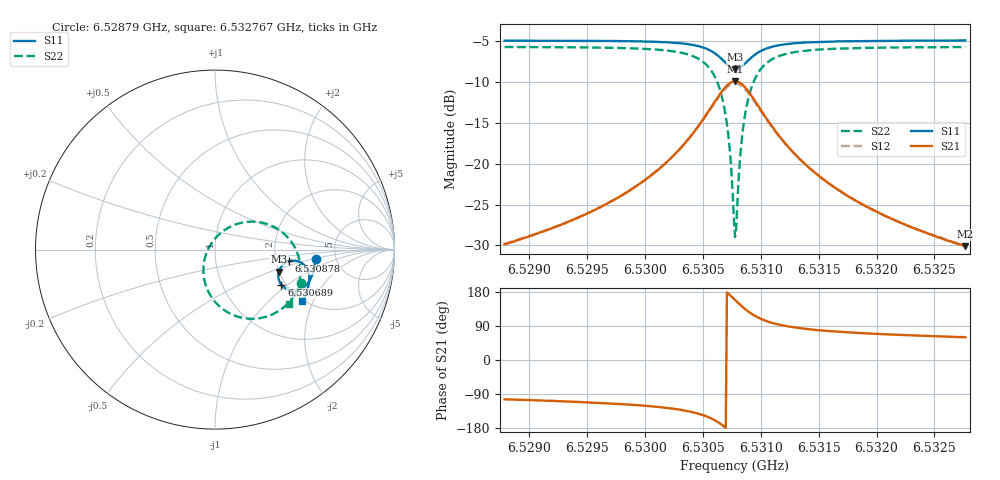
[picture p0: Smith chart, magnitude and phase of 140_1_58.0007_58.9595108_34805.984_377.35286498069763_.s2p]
#  HZ  S  RI  R  50.00
! Rohde & Schwarz Vector Network Analyzer
! Rohde-Schwarz,ZNB20-2Port,1311601062101988,3.16
! Created: UTC 3/21/2024, 12:56:29 AM
! freq[Hz]  re:S11  im:S11  re:S21  im:S21  re:S12  im:S12  re:S22  im:S22
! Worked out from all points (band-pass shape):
!   401 points, 6.52879 GHz to 6.532767 GHz, reference 50 ohm
!   highest |S21| = -9.94 dB at 6.530778 GHz (marker M1); lowest = -30.1 dB at 6.532767 GHz (marker M2)
!   |S21| within 3 dB of the highest: 6.53058 GHz to 6.530978 GHz (397.4 kHz wide, 0.00609 % of centre)
!   lowest |S11| = -8.5 dB at 6.530778 GHz (marker M3), VSWR 2.21, Z = 99.8 - j28.5 ohm
!   |S11| at or under -10 dB: nowhere
!   |S22| runs from -29.0 to -5.8 dB; largest |S21 - S12| = 0.013
!   S11 on the Smith chart (normalised r, x): 6.52879 GHz: 3.49, -0.54; 6.530689 GHz: 1.90, -0.90; 6.530878 GHz: 2.36, -0.37; 6.532767 GHz: 1.97, -1.66
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6.5287896e9  0.5606 -0.0526  -0.00764 -0.0314  -0.00824 -0.0312  0.4815 -0.1833
6.5294558e9  0.5514 -0.1088  -0.0173 -0.0446  -0.0184 -0.0444  0.4493 -0.2461
6.5298038e9  0.5414 -0.1419  -0.0287 -0.0573  -0.0301 -0.0566  0.4184 -0.2873
6.530122e9  0.5242 -0.1773  -0.0519 -0.0766  -0.0543 -0.0754  0.3647 -0.3354
6.5303506e9  0.4972 -0.2079  -0.0929 -0.097  -0.096 -0.0937  0.2812 -0.3752
6.5305197e9  0.4525 -0.2279  -0.1635 -0.1043  -0.1659 -0.0973  0.1508 -0.3798
6.5306191e9  0.4061 -0.223  -0.2356 -0.0774  -0.2347 -0.0671  0.03 -0.3205
6.5306887e9  0.3695 -0.195  -0.2892 -0.017  -0.2829 -0.00635  -0.0483 -0.2085
6.5307285e9  0.3554 -0.1663  -0.306 0.0377  -0.2964 0.0463  -0.0649 -0.1143
6.5307682e9  0.3537 -0.1314  -0.3014 0.1003  -0.2898 0.1053  -0.0449 -0.0124
6.5307782e9  0.3556 -0.1226  -0.2965 0.1157  -0.2845 0.1197  -0.0336 0.0117
6.5307881e9  0.3585 -0.1141  -0.2898 0.1307  -0.278 0.1334  -0.02 0.0348
6.5307981e9  0.3622 -0.106  -0.2818 0.1448  -0.2702 0.1466  -0.00416 0.0562
6.530818e9  0.3721 -0.0914  -0.2623 0.1699  -0.2513 0.1697  0.0327 0.0934
6.5308378e9  0.3842 -0.0794  -0.2392 0.1899  -0.2291 0.1883  0.0745 0.1218
6.5308776e9  0.4119 -0.0648  -0.1886 0.2143  -0.1813 0.2109  0.1624 0.1523
6.5309472e9  0.4566 -0.0636  -0.1103 0.2168  -0.1066 0.2135  0.2938 0.1409
6.5310466e9  0.4961 -0.0853  -0.043 0.1849  -0.0412 0.1832  0.4025 0.0708
6.5311958e9  0.5194 -0.1217  -0.00215 0.137  -0.000837 0.1363  0.4621 -0.0275
6.5314444e9  0.526 -0.1654  0.0155 0.0896  0.0166 0.0893  0.477 -0.1276
6.5321105e9  0.5101 -0.2367  0.018 0.0432  0.0187 0.0429  0.4484 -0.2454
6.5327667e9  0.4863 -0.2873  0.0156 0.0271  0.0162 0.0269  0.4143 -0.3053
